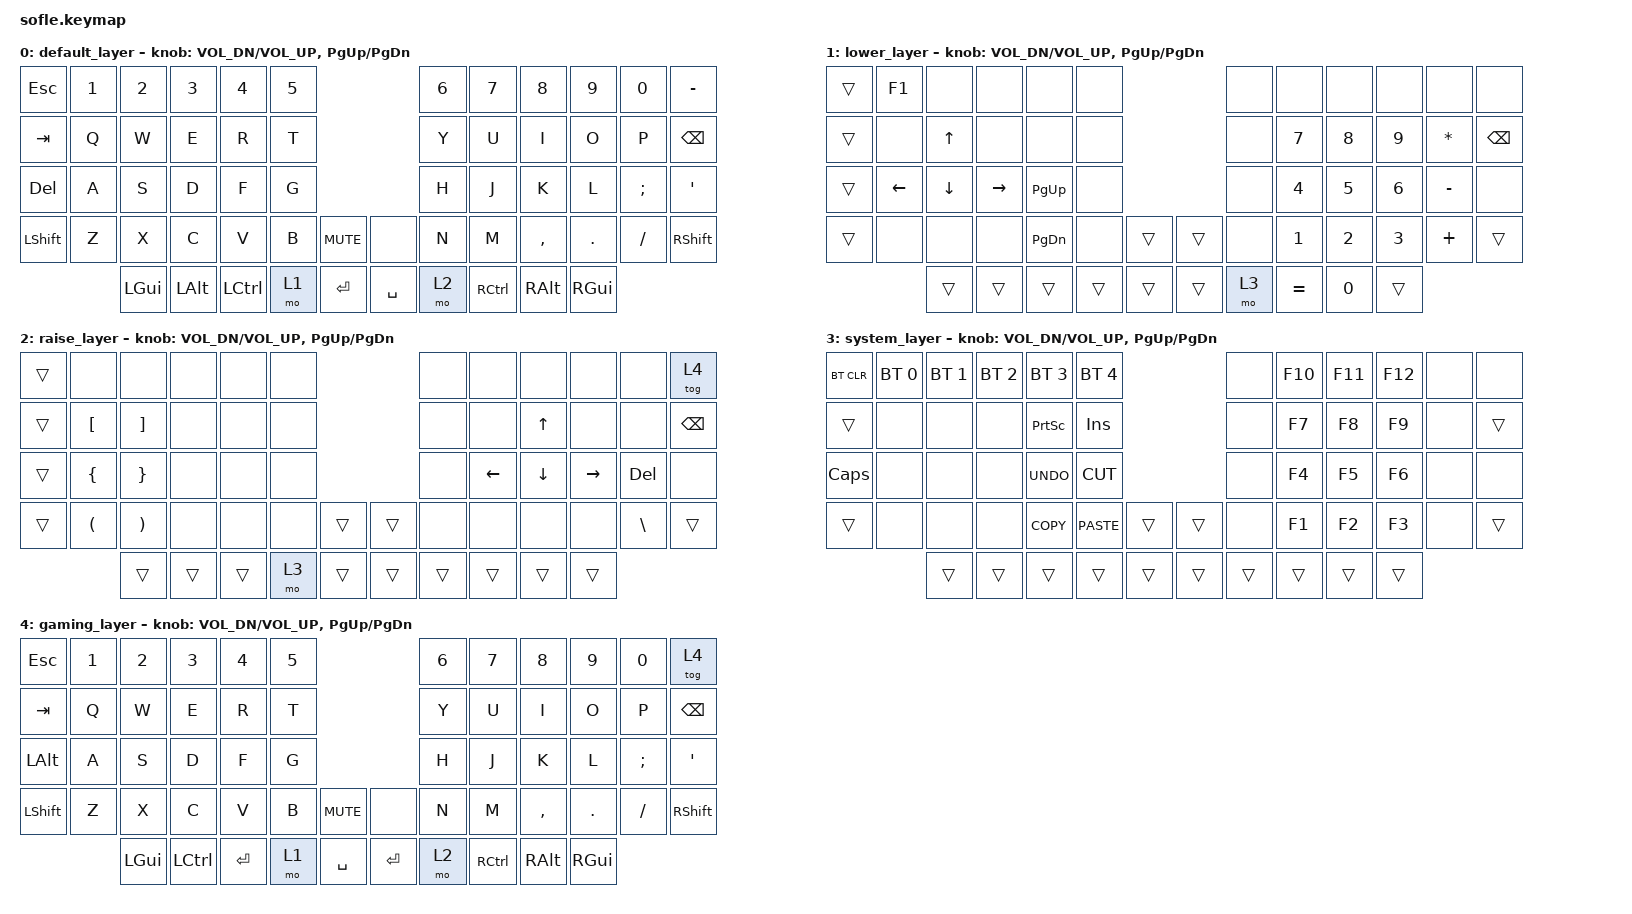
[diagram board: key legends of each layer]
/*
 * Copyright (c) 2020 The ZMK Contributors
 *
 * SPDX-License-Identifier: MIT
 */
#define LOWER 2
#include <behaviors.dtsi>
#include <dt-bindings/zmk/keys.h>
#include <dt-bindings/zmk/bt.h>

/ {
    keymap {
        compatible = "zmk,keymap";

        default_layer {
// ------------------------------------------------------------------------------------------------------------
// |  ESC  |  1  |  2  |  3   |  4   |  5   |                   |  6   |  7    |  8    |  9   |   0   |   -   |
// |  TAB  |  Q  |  W  |  E   |  R   |  T   |                   |  Y   |  U    |  I    |  O   |   P   | BKSPC |
// |  DEL  |  A  |  S  |  D   |  F   |  G   |                   |  H   |  J    |  K    |  L   |   ;   |   '   |
// | SHIFT |  Z  |  X  |  C   |  V   |  B   |  MUTE  |  |       |  N   |  M    |  ,    |  .   |   /   | SHIFT |
//               | GUI | ALT  | CTRL | LOWER|  ENTER |  | SPACE | RAISE| CTRL  | ALT   | GUI  |
            bindings = <
&kp ESC   &kp N1 &kp N2   &kp N3   &kp N4    &kp N5                      &kp N6 &kp N7    &kp N8    &kp N9   &kp N0   &kp MINUS
&kp TAB   &kp Q  &kp W    &kp E    &kp R     &kp T                       &kp Y  &kp U     &kp I     &kp O    &kp P    &kp BSPC
&kp DEL   &kp A  &kp S    &kp D    &kp F     &kp G                       &kp H  &kp J     &kp K     &kp L    &kp SEMI &kp SQT
&kp LSHFT &kp Z  &kp X    &kp C    &kp V     &kp B  &kp C_MUTE &none     &kp N  &kp M     &kp COMMA &kp DOT  &kp FSLH &kp RSHFT
                 &kp LGUI &kp LALT &kp LCTRL &mo 1  &kp RET    &kp SPACE &mo 2  &kp RCTRL &kp RALT  &kp RGUI
            >;

            sensor-bindings = <&inc_dec_kp C_VOL_DN C_VOL_UP &inc_dec_kp PG_UP PG_DN>;
        };

        lower_layer {
// TODO: Some binds are waiting for shifted keycode support.
// ------------------------------------------------------------------------------------------------------------
// |       |  `  |     |      |      |      |                   |      |       |       |      |       |       |
// |       |     |  ^  |      |      |      |                   |      |   7   |   8   |   9  |   *   | BKSPC |
// |       |  <- |  v  |  ->  | PGUP |      |                   |      |   4   |   5   |   6  |   -   |       |
// |       |     |     |      | PGDN |      |        |  |       |      |   1   |   2   |   3  |   +   |       |
//               |     |      |      |      |        |  |       |      |   =   |   0   |      |
            bindings = <
&trans  &kp F1   &none     &none      &none     &none                 &none   &none     &none    &none   &none     &none
&trans  &none    &kp UP    &none      &none     &none                 &none   &kp N7    &kp N8   &kp N9  &kp STAR  &kp BSPC
&trans  &kp LEFT &kp DOWN  &kp RIGHT  &kp PG_UP &none                 &none   &kp N4    &kp N5   &kp N6  &kp MINUS &none
&trans  &none    &none     &none      &kp PG_DN &none  &trans  &trans &none   &kp N1    &kp N2   &kp N3  &kp PLUS  &trans
                 &trans    &trans     &trans    &trans &trans  &trans &mo 3  &kp EQUAL &kp N0   &trans
            >;

            sensor-bindings = <&inc_dec_kp C_VOL_DN C_VOL_UP &inc_dec_kp PG_UP PG_DN>;
        };

        raise_layer {
// ------------------------------------------------------------------------------------------------------------
// |     |      |      |       |       |      |                |      |      |       |      |       | GMING |
// |     |  [   |  ]   |       |       |      |                |      |      |   ^   |      |       | BKSPC |
// |     |  {   |  }   |       |       |      |                |      |   <- |   v   |  ->  |  DEL  |       |
// |     |  (   |  )   |       |       |      |      |  |      |      |      |       |      |   \   |       |
//              |      |       |       |      |      |  |      |      |      |       |      |
            bindings = <  
&trans   &none      &none      &none     &none     &none                    &none     &none     &none    &none     &none   &tog 4
&trans   &kp LBKT   &kp RBKT   &none     &none     &none                    &none     &none     &kp UP   &none     &none   &kp BSPC
&trans   &kp LBRC   &kp RBRC   &none     &none     &none                    &none     &kp LEFT  &kp DOWN &kp RIGHT &kp DEL &none
&trans   &kp LPAR   &kp RPAR   &none     &none     &none   &trans   &trans  &none     &none     &none    &none    &kp BSLH   &trans
                    &trans     &trans    &trans    &mo 3  &trans   &trans  &trans    &trans    &trans   &trans
            >;

            sensor-bindings = <&inc_dec_kp C_VOL_DN C_VOL_UP &inc_dec_kp PG_UP PG_DN>;
        };

                system_layer {
// TODO: Some binds are waiting for shifted keycode support.
// ------------------------------------------------------------------------------------------------------------
// |BTCLR| BT1  | BT2  |  BT3  |  BT4  |  BT5  |                   |      |  F10 |  F11  |  F12  |       |      |
// |     |      |      |       | PSCR  | INS   |                   |      |  F7  |  F8   |  F9   |       |      |
// |CAPS |      |      |       | UNDO  | CUT   |                   |      |  F4  |  F5   |  F6   |       |      |
// |     |      |      |       | COPY  | PASTE |        |  |       |      |  F1  |  F2   |  F3   |       |      |
//              |      |       |       |       |        |  |       |      |      |       |       |
            bindings = <
&bt BT_CLR &bt BT_SEL 0 &bt BT_SEL 1 &bt BT_SEL 2 &bt BT_SEL 3 &bt BT_SEL 4       &none   &kp F10   &kp F11  &kp F12  &none   &none  
&trans     &none     &none     &none     &kp PSCRN    &kp INS                     &none   &kp F7    &kp F8   &kp F9   &none   &trans   
&kp CAPS   &none     &none     &none     &kp K_UNDO   &kp K_CUT                   &none   &kp F4    &kp F5   &kp F6   &none   &none  
&trans     &none     &none     &none     &kp K_COPY   &kp K_PASTE &trans   &trans &none   &kp F1    &kp F2   &kp F3   &none   &trans
                     &trans    &trans    &trans       &trans      &trans   &trans &trans  &trans    &trans   &trans
            >;

            sensor-bindings = <&inc_dec_kp C_VOL_DN C_VOL_UP &inc_dec_kp PG_UP PG_DN>;
        };

        gaming_layer {
// ------------------------------------------------------------------------------------------------------------
// |  ESC  |  1  |  2  |  3   |  4   |  5   |                   |  6   |  7    |  8    |  9   |   0   |   -   |
// |  TAB  |  Q  |  W  |  E   |  R   |  T   |                   |  Y   |  U    |  I    |  O   |   P   | BKSPC |
// |  ALT  |  A  |  S  |  D   |  F   |  G   |                   |  H   |  J    |  K    |  L   |   ;   |   '   |
// | SHIFT |  Z  |  X  |  C   |  V   |  B   |  MUTE  |  |       |  N   |  M    |  ,    |  .   |   /   | SHIFT |
//               | GUI | CTRL  | ENTER | LOWER|  SPACE |  | ENTER | RAISE| CTRL  | ALT   | GUI  |
            bindings = <
&kp ESC   &kp N1 &kp N2   &kp N3   &kp N4    &kp N5                      &kp N6 &kp N7    &kp N8    &kp N9   &kp N0   &tog 4
&kp TAB   &kp Q  &kp W    &kp E    &kp R     &kp T                       &kp Y  &kp U     &kp I     &kp O    &kp P    &kp BSPC
&kp LALT   &kp A  &kp S    &kp D    &kp F     &kp G                       &kp H  &kp J     &kp K     &kp L    &kp SEMI &kp SQT
&kp LSHFT &kp Z  &kp X    &kp C    &kp V     &kp B  &kp C_MUTE &none     &kp N  &kp M     &kp COMMA &kp DOT  &kp FSLH &kp RSHFT
                 &kp LGUI &kp LCTRL &kp RET &mo 1  &kp SPACE   &kp RET &mo 2  &kp RCTRL &kp RALT  &kp RGUI
            >;

            sensor-bindings = <&inc_dec_kp C_VOL_DN C_VOL_UP &inc_dec_kp PG_UP PG_DN>;
        };
    };
};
